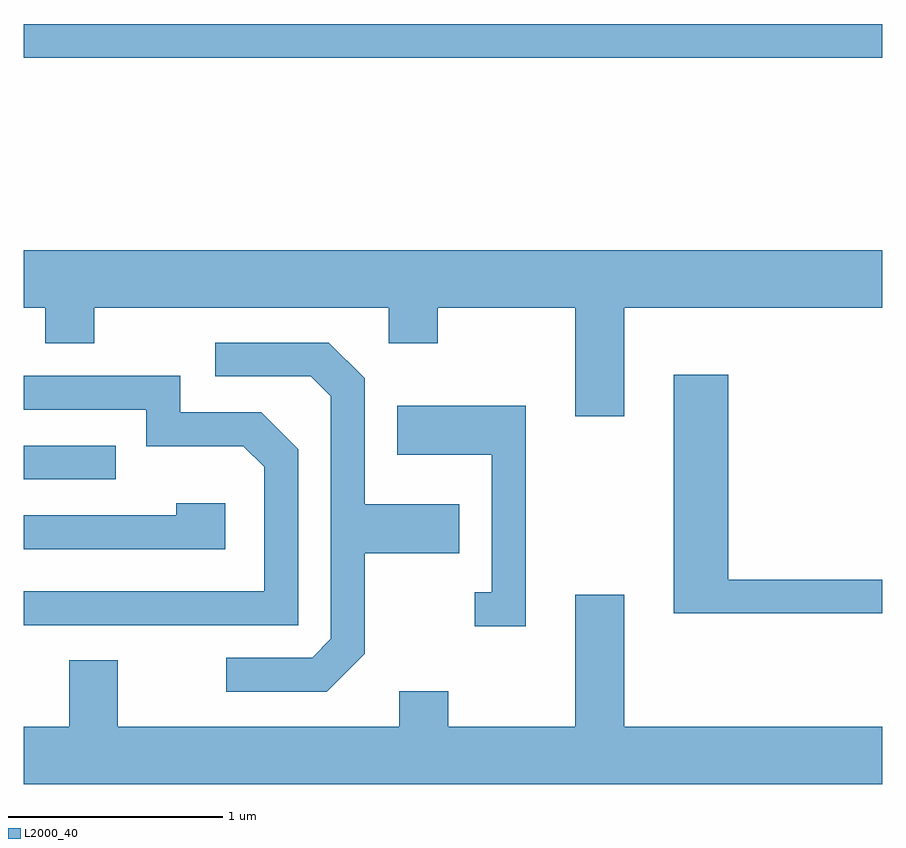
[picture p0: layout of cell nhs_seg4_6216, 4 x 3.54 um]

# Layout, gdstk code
import gdstk
lib = gdstk.Library(unit=1e-6, precision=1e-09)
def R(c, l, rs):  # rectangles x0, y0, x1, y1
    for r in rs: c.add(gdstk.rectangle(r[:2], r[2:], *l))
def P(c, l, *ps):  # polygons
    for p in ps: c.add(gdstk.Polygon(p, *l))
L2000_40 = (2000, 40)

nhs_seg4_6216 = lib.new_cell('nhs_seg4_6216')
R(nhs_seg4_6216, L2000_40, [(367.611,1311.696,368.038,1311.854), (367.611,1313.661,371.611,1313.819)])
P(nhs_seg4_6216, L2000_40, [(370.409,1312.496),(371.611,1312.496),(371.611,1312.764),(367.611,1312.764),(367.611,1312.496),(367.711,1312.496),(367.711,1312.331),(367.939,1312.331),(367.939,1312.496),(369.311,1312.496),(369.311,1312.331),(369.539,1312.331),(369.539,1312.496),(370.181,1312.496),(370.181,1311.991),(370.409,1311.991)],
  [(369.199,1310.884),(369.199,1311.351),(369.639,1311.351),(369.639,1311.579),(369.199,1311.579),(369.199,1312.167),(369.032,1312.334),(368.503,1312.334),(368.503,1312.176),(368.949,1312.176),(369.041,1312.084),(369.041,1310.952),(368.954,1310.864),(368.553,1310.864),(368.553,1310.706),(369.022,1310.706)],
  [(371.611,1311.229),(370.894,1311.229),(370.894,1312.184),(370.641,1312.184),(370.641,1311.071),(371.611,1311.071)],
  [(368.889,1311.837),(368.717,1312.009),(368.339,1312.009),(368.339,1312.179),(367.611,1312.179),(367.611,1312.021),(368.181,1312.021),(368.181,1311.851),(368.634,1311.851),(368.731,1311.754),(368.731,1311.174),(367.611,1311.174),(367.611,1311.016),(368.889,1311.016)],
  [(369.949,1312.039),(369.351,1312.039),(369.351,1311.811),(369.791,1311.811),(369.791,1311.169),(369.713,1311.169),(369.713,1311.011),(369.949,1311.011)],
  [(368.549,1311.584),(368.321,1311.584),(368.321,1311.529),(367.611,1311.529),(367.611,1311.371),(368.549,1311.371)],
  [(371.611,1310.544),(370.409,1310.544),(370.409,1311.159),(370.181,1311.159),(370.181,1310.544),(369.589,1310.544),(369.589,1310.709),(369.361,1310.709),(369.361,1310.544),(368.049,1310.544),(368.049,1310.854),(367.821,1310.854),(367.821,1310.544),(367.611,1310.544),(367.611,1310.276),(371.611,1310.276)])

lib.write_gds('nhs_seg4_6216.gds')
